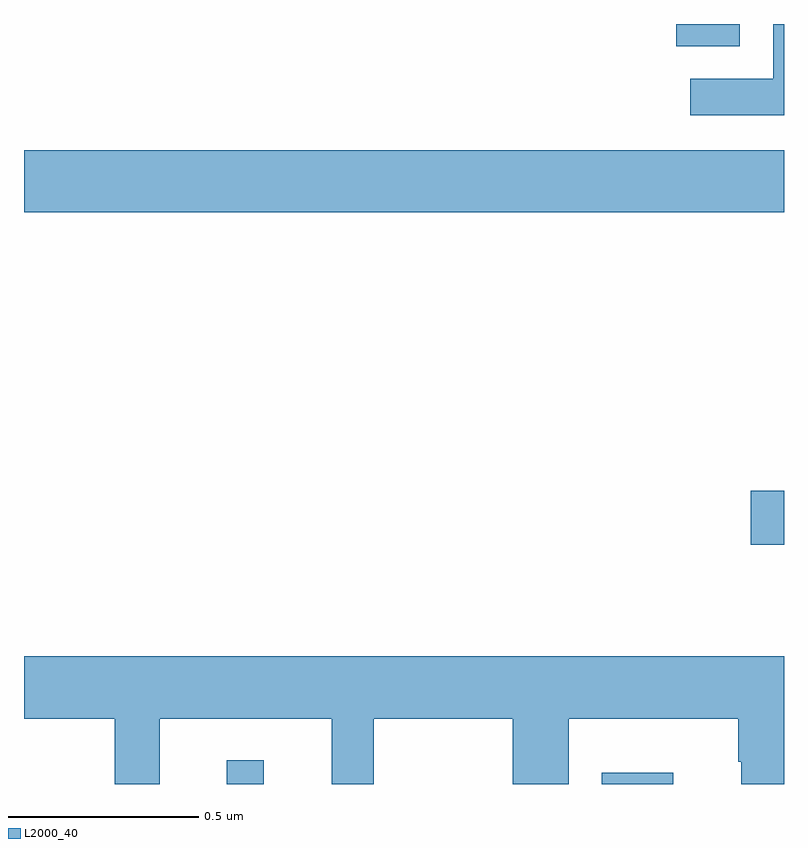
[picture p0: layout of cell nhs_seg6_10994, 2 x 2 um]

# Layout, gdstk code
import gdstk
lib = gdstk.Library(unit=1e-6, precision=1e-09)
def R(c, l, rs):  # rectangles x0, y0, x1, y1
    for r in rs: c.add(gdstk.rectangle(r[:2], r[2:], *l))
def P(c, l, *ps):  # polygons
    for p in ps: c.add(gdstk.Polygon(p, *l))
L2000_40 = (2000, 40)

nhs_seg6_10994 = lib.new_cell('nhs_seg6_10994')
R(nhs_seg6_10994, L2000_40, [(254.534,944.5,254.631,944.563), (255.521,944.5,255.709,944.53), (255.912,945.13,256,945.272), (254,946.004,256,946.168), (255.716,946.441,255.883,946.5)])
P(nhs_seg6_10994, L2000_40, [(256,946.5),(255.972,946.5),(255.972,946.356),(255.753,946.356),(255.753,946.26),(256,946.26)],
  [(254.357,944.672),(254.81,944.672),(254.81,944.5),(254.92,944.5),(254.92,944.672),(255.286,944.672),(255.286,944.5),(255.433,944.5),(255.433,944.672),(255.88,944.672),(255.88,944.559),(255.887,944.559),(255.887,944.5),(256,944.5),(256,944.836),(254,944.836),(254,944.672),(254.239,944.672),(254.239,944.5),(254.357,944.5)])

lib.write_gds('nhs_seg6_10994.gds')
